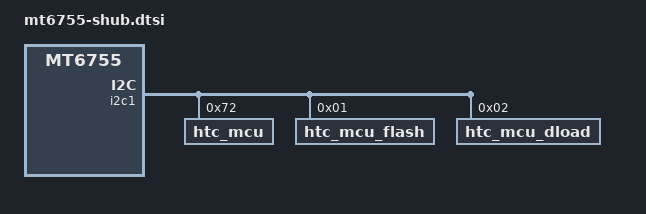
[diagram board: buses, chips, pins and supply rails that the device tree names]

&pio {
	pins_default: pins_default{
	};

	cpu2mcu_intr_high: cpu2mcu_intr_high {
		pins_cmd_dat {
			pins = <PINMUX_GPIO3__FUNC_GPIO3>;
			slew-rate = <1>;
			output-high;
			input-schmitt-enable = <0>;
		};
	};

   cpu2mcu_intr_low: cpu2mcu_intr_low {
		pins_cmd_dat {
			pins = <PINMUX_GPIO3__FUNC_GPIO3>;
			slew-rate = <1>;
			output-low;
			input-schmitt-enable = <0>;
		};
	};

	shub_boot_sel_high: shub_boot_sel_high {
		pins_cmd_dat {
			pins = <PINMUX_GPIO4__FUNC_GPIO4>;
			slew-rate = <1>;
			bias-pull-down = <00>;
			output-high;
			input-schmitt-enable = <0>;
		};
	};

	shub_boot_sel_low: shub_boot_sel_low {
		pins_cmd_dat {
			pins = <PINMUX_GPIO4__FUNC_GPIO4>;
			slew-rate = <1>;
			bias-pull-down = <00>;
			output-low;
			input-schmitt-enable = <0>;
		};
	};


	mcp_status_high: mcp_status_high {
		pins_cmd_dat {
			pins = <PINMUX_GPIO5__FUNC_GPIO5>;
			slew-rate = <0>;
			bias-pull-down = <00>;
			input-schmitt-enable = <0>;
		};
	};

	mcp_status_low: mcp_status_low {
		pins_cmd_dat {
			pins = <PINMUX_GPIO5__FUNC_GPIO5>;
			slew-rate = <0>;
			bias-pull-down = <00>;
			input-schmitt-enable = <0>;
		};
	};

	shub_rst_high: shub_rst_high {
		pins_cmd_dat {
			pins = <PINMUX_GPIO6__FUNC_GPIO6>;
			slew-rate = <1>;
			output-high;
			input-schmitt-enable = <0>;
		};
	};

	shub_rst_low: shub_rst_low {
		pins_cmd_dat {
			pins = <PINMUX_GPIO6__FUNC_GPIO6>;
			slew-rate = <1>;
			output-low;
			input-schmitt-enable = <0>;
		};
	};

	shub_rst_input_high: shub_rst_input_high {
		pins_cmd_dat {
			pins = <PINMUX_GPIO6__FUNC_GPIO6>;
			slew-rate = <0>;
                     bias-pull-up = <11>;
			input-schmitt-enable = <0>;
		};
	};

          shub_rst_input_low: shub_rst_input_low {
		pins_cmd_dat {
			pins = <PINMUX_GPIO6__FUNC_GPIO6>;
			slew-rate = <0>;
                     bias-pull-up = <00>;
			input-schmitt-enable = <0>;
		};
	};
	hub2cpu_intr_high: hub2cpu_intr_high {
		pins_cmd_dat {
			pins = <PINMUX_GPIO8__FUNC_GPIO8>;
			slew-rate = <0>;
			bias-pull-down = <00>;
			input-schmitt-enable = <0>;
		};
	};

	hub2cpu_intr_low: hub2cpu_intr_low {
		pins_cmd_dat {
			pins = <PINMUX_GPIO8__FUNC_GPIO8>;
			slew-rate = <0>;
			bias-pull-down = <00>;
			input-schmitt-enable = <0>;
		};
	};

};


&i2c1 {

		htc_mcu@72{
				compatible = "htc_mcu";
				reg = <0x72>;

				mcu,intr-gpio  = <8>;
				mcu,gs_chip_layout = <1>;
				mcu,acceleration_axes = <7>;
				mcu,magnetic_axes = <7>;
				mcu,gyro_axes = <7>;
				mcu,Cpu_wake_mcu-gpio = <3>;
				mcu,Reset-gpio = <6>;
				mcu,Chip_mode-gpio = <4>;
				mcu,mcu_status-gpio = <5>;
				mcu,pcb-id = <1>;
				mcu,als_levels   = <1 3 5 29 58 999 1166 1199 2099 65535>;
				mcu,als_levels_2 = <15 23 37 174 348 2326 3490 6283 9774 65535>;
				mcu,als_goldl = <0xE9>;
				mcu,als_goldh = <0x07>;
				mcu,ps_thd_add = <0x1C>;
				mcu,ps_thd_fixed = <0x15>;
				mcu,SR_1V8 = "MT6331_POWER_LDO_VCAM_AF";
				touch_enable = <1>;
				vibrate_ms = <40>;
				mcu,rv_calibration = <2>;
				pinctrl-names = "pin_default", "pin_cfg_high", "pin_cfg_low","Chip_mode-gpio_high", "Chip_mode-gpio_low","mcu_status-gpio_high","mcu_status-gpio_low",
				"Reset-gpio_high", "Reset-gpio_low","intr-gpio_high","intr-gpio_low","shub_rst_input_high","shub_rst_input_low";
				pinctrl-0 = <&pins_default>;
				pinctrl-1 = <&cpu2mcu_intr_high>;
				pinctrl-2 = <&cpu2mcu_intr_low>;
				pinctrl-3 = <&shub_boot_sel_high>;
				pinctrl-4 = <&shub_boot_sel_low>;
				pinctrl-5 = <&mcp_status_high>;
				pinctrl-6 = <&mcp_status_low>;
				pinctrl-7 = <&shub_rst_high>;
				pinctrl-8 = <&shub_rst_low>;
				pinctrl-9 = <&hub2cpu_intr_high>;
				pinctrl-10 = <&hub2cpu_intr_low>;
				pinctrl-11 = <&shub_rst_input_high>;
                            pinctrl-12 = <&shub_rst_input_low>;

				status = "okay";
			};

		htc_mcu_flash@01 {
			compatible = "htc_mcu_flash";
			reg = <0x01>;
			mcu,MHL_WA = <1>;
		};

		htc_mcu_dload@02 {
			compatible = "htc_mcu_dload";
			reg = <0x02>;
		};



};
